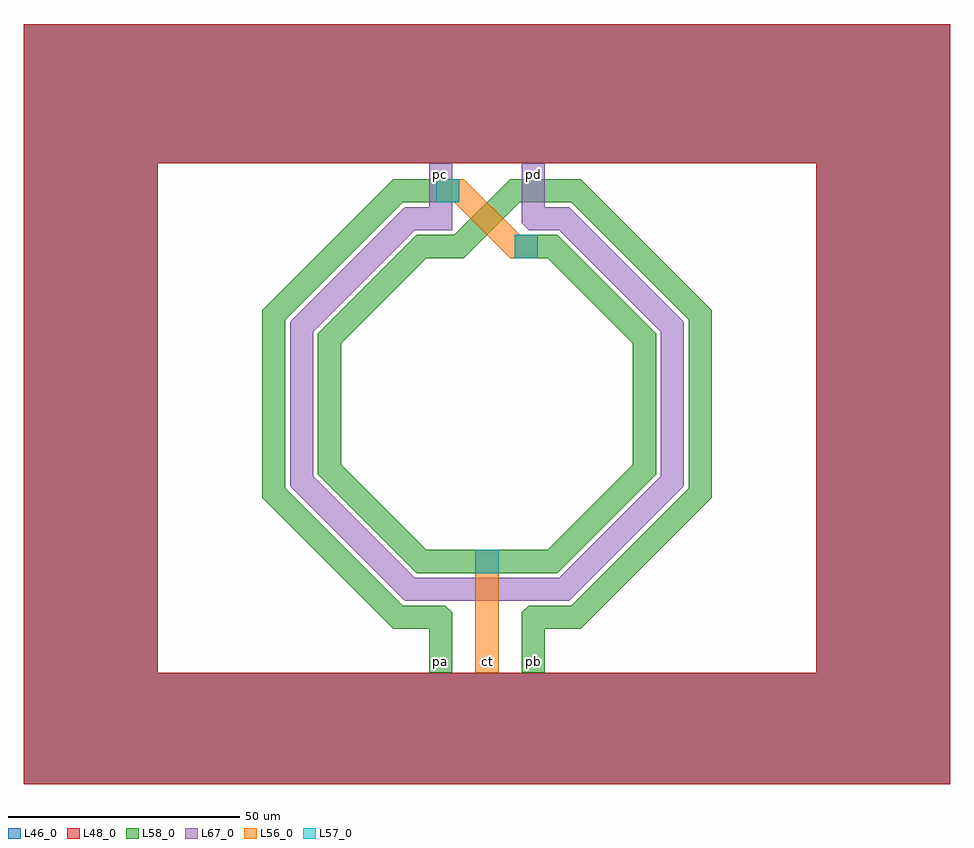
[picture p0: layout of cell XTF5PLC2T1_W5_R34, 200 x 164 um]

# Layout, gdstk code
import gdstk
lib = gdstk.Library(unit=1e-6, precision=1e-09)
def R(c, l, rs):  # rectangles x0, y0, x1, y1
    for r in rs: c.add(gdstk.rectangle(r[:2], r[2:], *l))
def P(c, l, *ps):  # polygons
    for p in ps: c.add(gdstk.Polygon(p, *l))
L46_0 = (46, 0)
L48_0 = (48, 0)
L56_0 = (56, 0)
L57_0 = (57, 0)
L58_0 = (58, 0)
L67_0 = (67, 0)

xtf5plc2t1_w5_r34 = lib.new_cell('XTF5PLC2T1_W5_R34')
P(xtf5plc2t1_w5_r34, L46_0, [(100,-82),(-100,-82),(-100,82),(71,82),(71,52),(-71,52),(-71,-58),(71,-58),(71,82),(100,82)])
P(xtf5plc2t1_w5_r34, L48_0, [(100,-82),(-100,-82),(-100,82),(71,82),(71,52),(-71,52),(-71,-58),(71,-58),(71,82),(100,82)])
R(xtf5plc2t1_w5_r34, L56_0, [(-2.5,-58,2.5,-31.5), (-2.5,-58,2.5,-53)])
P(xtf5plc2t1_w5_r34, L56_0, [(11,31.5),(4.965,31.5),(-7.035,43.5),(-11,43.5),(-11,48.5),(-4.965,48.5),(7.035,36.5),(11,36.5)])
R(xtf5plc2t1_w5_r34, L57_0, [(-2.5,-36.5,2.5,-31.5), (6,31.5,11,36.5), (-11,43.5,-6,48.5)])
R(xtf5plc2t1_w5_r34, L58_0, [(-12.5,-58,-7.5,-53), (7.5,-58,12.5,-53)])
P(xtf5plc2t1_w5_r34, L58_0, [(-6,43.5),(-18.14,43.5),(-43.5,18.14),(-43.5,-18.14),(-18.14,-43.5),(-8.965,-43.5),(-7.5,-44.965),(-7.5,-58),(-12.5,-58),(-12.5,-48.5),(-20.21,-48.5),(-48.5,-20.21),(-48.5,20.21),(-20.21,48.5),(-6,48.5)],
  [(48.5,-20.21),(20.21,-48.5),(12.5,-48.5),(12.5,-58),(7.5,-58),(7.5,-44.965),(8.965,-43.5),(18.14,-43.5),(43.5,-18.14),(43.5,18.14),(18.14,43.5),(7.035,43.5),(-4.965,31.5),(-13.135,31.5),(-31.5,13.135),(-31.5,-13.135),(-13.135,-31.5),(13.135,-31.5),(31.5,-13.135),(31.5,13.135),(13.135,31.5),(6,31.5),(6,36.5),(15.205,36.5),(36.5,15.205),(36.5,-15.205),(15.205,-36.5),(-15.205,-36.5),(-36.5,-15.205),(-36.5,15.205),(-15.205,36.5),(-7.035,36.5),(4.965,48.5),(20.21,48.5),(48.5,20.21)])
R(xtf5plc2t1_w5_r34, L67_0, [(-12.5,47,-7.5,52), (7.5,47,12.5,52)])
P(xtf5plc2t1_w5_r34, L67_0, [(42.5,-17.705),(17.705,-42.5),(-17.705,-42.5),(-42.5,-17.705),(-42.5,17.705),(-17.705,42.5),(-12.5,42.5),(-12.5,52),(-7.5,52),(-7.5,37.5),(-15.635,37.5),(-37.5,15.635),(-37.5,-15.635),(-15.635,-37.5),(15.635,-37.5),(37.5,-15.635),(37.5,15.635),(15.635,37.5),(8.965,37.5),(7.5,38.965),(7.5,52),(12.5,52),(12.5,42.5),(17.705,42.5),(42.5,17.705)])
xtf5plc2t1_w5_r34.add(gdstk.Label('pb', (10,-55.5), layer=58, texttype=0))
xtf5plc2t1_w5_r34.add(gdstk.Label('pa', (-10,-55.5), layer=58, texttype=0))
xtf5plc2t1_w5_r34.add(gdstk.Label('pd', (10,49.5), layer=67, texttype=0))
xtf5plc2t1_w5_r34.add(gdstk.Label('pc', (-10,49.5), layer=67, texttype=0))
xtf5plc2t1_w5_r34.add(gdstk.Label('ct', (0,-55.5), layer=56, texttype=0))

lib.write_gds('XTF5PLC2T1_W5_R34.gds')
